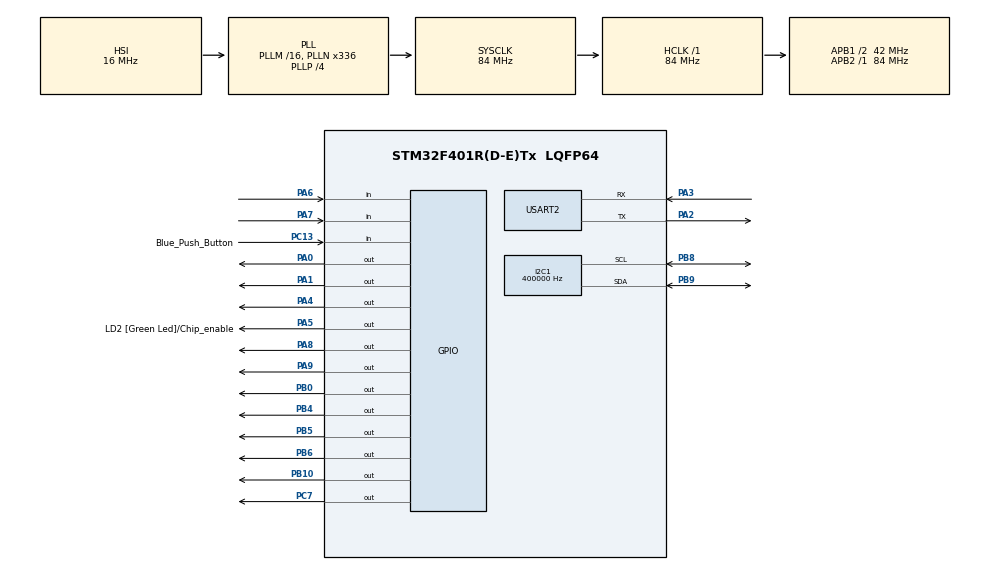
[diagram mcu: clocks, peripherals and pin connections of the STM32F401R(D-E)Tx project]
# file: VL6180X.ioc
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I2C1.ClockSpeed=400000
I2C1.I2C_Mode=I2C_Fast
Mcu.Family=STM32F4
Mcu.Name=STM32F401R(D-E)Tx
Mcu.Package=LQFP64
NVIC.PriorityGroup=NVIC_PRIORITYGROUP_0
PA0-WKUP.Signal=GPIO_Output
PA1.Signal=GPIO_Output
PA13.GPIO_Label=TMS
PA13.Mode=Serial_Wire
PA13.Signal=SYS_JTMS-SWDIO
PA14.GPIO_Label=TCK
PA14.Mode=Serial_Wire
PA14.Signal=SYS_JTCK-SWCLK
PA2.Mode=Asynchronous
PA2.Signal=USART2_TX
PA3.Mode=Asynchronous
PA3.Signal=USART2_RX
PA4.Signal=GPIO_Output
PA5.GPIO_Label=LD2 [Green Led]/Chip_enable
PA5.GPIO_Mode=GPIO_MODE_OUTPUT_PP
PA5.GPIO_ModeDefaultOutputPP=GPIO_MODE_OUTPUT_PP
PA5.GPIO_PuPd=GPIO_NOPULL
PA5.GPIO_Speed=GPIO_SPEED_FREQ_LOW
PA5.Signal=GPIO_Output
PA6.Signal=GPIO_Input
PA7.Signal=GPIO_Input
PA8.Signal=GPIO_Output
PA9.Signal=GPIO_Output
PB0.Signal=GPIO_Output
PB10.Signal=GPIO_Output
PB3.Signal=SYS_JTDO-SWO
PB4.Signal=GPIO_Output
PB5.Signal=GPIO_Output
PB6.Signal=GPIO_Output
PB8.GPIO_Pu=GPIO_PULLUP
PB8.Mode=I2C
PB8.Signal=I2C1_SCL
PB9.GPIO_Pu=GPIO_PULLUP
PB9.Mode=I2C
PB9.Signal=I2C1_SDA
PC13-ANTI_TAMP.GPIO_Label=Blue_Push_Button
PC13-ANTI_TAMP.GPIO_Mode=GPIO_MODE_INPUT
PC13-ANTI_TAMP.GPIO_PuPd=GPIO_NOPULL
PC13-ANTI_TAMP.Signal=GPIO_Input
PC14-OSC32_IN.Signal=RCC_OSC32_IN
PC15-OSC32_OUT.Signal=RCC_OSC32_OUT
PC7.Signal=GPIO_Output
PH0\ -\ OSC_IN.Signal=RCC_OSC_IN
PH1\ -\ OSC_OUT.Signal=RCC_OSC_OUT
ProjectManager.HeapSize=0x200
ProjectManager.StackSize=0x400
ProjectManager.TargetToolchain=STM32CubeIDE
RCC.48MHZClocksFreq_Value=48000000
RCC.AHBFreq_Value=84000000
RCC.APB1CLKDivider=RCC_HCLK_DIV2
RCC.APB1Freq_Value=42000000
RCC.APB1TimFreq_Value=84000000
RCC.APB2Freq_Value=84000000
RCC.APB2TimFreq_Value=84000000
RCC.CortexFreq_Value=84000000
RCC.HCLKFreq_Value=84000000
RCC.HSE_VALUE=8000000
RCC.HSI_VALUE=16000000
RCC.LSE_VALUE=32768
RCC.PLLN=336
RCC.PLLP=RCC_PLLP_DIV4
RCC.PLLQ=7
RCC.SYSCLKFreq_VALUE=84000000
RCC.SYSCLKSource=RCC_SYSCLKSOURCE_PLLCLK
RCC.VCOOutputFreq_Value=336000000
USART2.VirtualMode=VM_ASYNC
board=custom

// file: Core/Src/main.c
/* USER CODE BEGIN Header */
/**
  ******************************************************************************
  * @file           : main.c
  * @brief          : Main program body
  ******************************************************************************
  * @attention
  *
  * Copyright (c) 2023 STMicroelectronics.
  * All rights reserved.
  *
  * This software is licensed under terms that can be found in the LICENSE file
  * in the root directory of this software component.
  * If no LICENSE file comes with this software, it is provided AS-IS.
  *
  ******************************************************************************
  */
/* USER CODE END Header */
#include "main.h"

/* USER CODE BEGIN Includes */
#include <string.h>
#include <stdlib.h>
#include <stdio.h>

#include "vl6180x_api.h"
#include "x-nucleo-6180xa1.h"
/* USER CODE END Includes */

I2C_HandleTypeDef hi2c1;

UART_HandleTypeDef huart2;

void SystemClock_Config(void);
static void MX_GPIO_Init(void);
static void MX_I2C1_Init(void);
static void MX_USART2_UART_Init(void);

/* USER CODE BEGIN 0 */
#ifdef COS //DEBUG
	//TODO
#include "diag/trace.h"
    #define debug(msg, ...)   trace_printf(msg,__VA_ARGS__)
    #define trace_warn(msg,...) trace_printf("W %s %d" msg "\n", __func__, __LINE__, __VA_ARGS__)
#else
    #define debug(msg, ...)  (void)0
#endif

#define DigitDisplay_ms     1 /* ms each digit is kept on */
#if VL6180x_HAVE_DMAX_RANGING
#define DMaxDispTime     0 /* Set to 1000 to display Dmax during 1 sec when no target is detected */
#else
#define DMaxDispTime     0
#endif

#define OutORangeDispfTime  800

#define ErrRangeDispTime    0 /* Set to 800 ms to display error code when no target os detected */
#if ErrRangeDispTime == 0
/*   supress Warning[Pe186]: pointless comparison of unsigned integer with zero */
#   ifdef __ARMCC_VERSION /* ARM/KEIL */
#   pragma diag_suppress 186
#   endif  /* _ARMCC_VERSION */
#   ifdef __ICCARM__ /* IAR */
#       pragma diag_suppress=Pe186
#   endif  /* _ARMCC_VERSION */
#endif

#define ScaleDispTime       800
#define AlrmDispTime        800

#define PressBPSwicthTime   1000 /* if user keep bp press more that this mean swicth mode else rooll over use c&se in mode */

#define AlarmKeepDispTime   250  /*  alarm message retain time after it fires */

#define ALLOW_DISABLE_WAF_FROM_BLUE_BUTTON 0 /* set to 1 to add 3 extra modes to the demo where WAF is disabled (to see impact of WAF) */

void WaitMilliSec(int ms);

/**
 * VL6180x CubeMX F401 i2c porting implementation
 */

#define theVL6180xDev   0x52    // what we use as "API device

#define i2c_bus      (&hi2c1)
#define def_i2c_time_out 100

int VL6180x_I2CWrite(VL6180xDev_t addr, uint8_t  *buff, uint8_t len){
    int status;
    status = HAL_I2C_Master_Transmit(i2c_bus,  addr, buff, len , def_i2c_time_out);
    if( status ){
        XNUCLEO6180XA1_I2C1_Init(&hi2c1);
    }
    return status;
}

int VL6180x_I2CRead(VL6180xDev_t addr, uint8_t  *buff, uint8_t len){
    int status;
    status = HAL_I2C_Master_Receive(i2c_bus,  addr, buff, len , def_i2c_time_out);
    if( status ){
        XNUCLEO6180XA1_I2C1_Init(&hi2c1);
    }

    return status;
}

void XNUCLEO6180XA1_WaitMilliSec(int n){
    WaitMilliSec(n);
}

volatile int IntrFired=0;

/* VL6180x shield user interrupt handler */
void XNUCLEO6180XA1_UserIntHandler(void){
    IntrFired ++;
}

/**
 * DISPLAY public
 */
/***************  DISPLAY PUBLIC *********************/
const char *DISP_NextString;
/***************  DISPLAY PRIVATE *********************/
static char DISP_CurString[10];
static int DISP_Loop=0;

void DISP_ExecLoopBody(void){
    if (DISP_NextString != NULL) {
        strncpy(DISP_CurString, DISP_NextString, sizeof(DISP_CurString) - 1);
        DISP_CurString[sizeof(DISP_CurString) - 1] = 0;
        DISP_NextString = NULL;
    }
    XNUCLEO6180XA1_DisplayString(DISP_CurString, DigitDisplay_ms);
    DISP_Loop++;
}

void DISP_Task(const void *arg) {
    do {
        DISP_ExecLoopBody();
    } while (1);
}

#if !FREE_RTOS

volatile uint32_t g_TickCnt;
char buff[10]="---.--";
float v=0000.1;
void HAL_SYSTICK_Callback(void){
    g_TickCnt++;
}

void WaitMilliSec(int ms){
    uint32_t start, now;
    int dif;
    start=g_TickCnt;
    //debug("waiting %d @%d\n",ms, g_TickCnt);
    do{
        now=g_TickCnt;
        dif= now -start;
    }
    while(dif<ms);
    //debug("waited  %d @%d\n",dif, g_TickCnt);
}

#else
//for FreeRtos ue os wait
void WaitMilliSec(int ms)   vTaskDelay( ms/ portTICK_PERIOD_MS)

#endif

void HAL_GPIO_EXTI_Callback(uint16_t GPIO_Pin){
    XNUCLEO6180XA1_EXTI_CallBackHandle(GPIO_Pin);
}

#define BSP_BP_PORT GPIOC
#define BSP_BP_PIN  GPIO_PIN_13
int BSP_GetPushButton(void){
    GPIO_PinState state ;
    state = HAL_GPIO_ReadPin(BSP_BP_PORT, BSP_BP_PIN);
    return state;
}

void SetDisplayString(const char *msg) {
    DISP_NextString=msg;
}
/**
 * call in the main loop
 * when running under debugger it enable doing direct vl6180x reg access
 * typcilay breaking at entrance
 * change  the the local index/data and cmd variable to do what needed
 * reg_cmd -1 wr byte -2wr word -3 wr dword
 * reg_cmd 1 rd byte 2 rd word 3 rd dword
 * step to last statement before return and read variable to get rd result exit
 */
void debug_stuff(void) {
    int reg_cmd = 0;
    static uint32_t reg_data;
    static uint16_t reg_index;

    if (reg_cmd) {
        switch (reg_cmd) {
        case -1:
            VL6180x_WrByte(theVL6180xDev, reg_index, reg_data);
            debug("Wr B 0x%X = %d", reg_index, (int)reg_data);
            break;
        case -2:
            VL6180x_WrWord(theVL6180xDev, reg_index, reg_data);
            debug("Wr W 0x%X = %d", reg_index,(int) reg_data);
            break;

        case -3:
            VL6180x_WrDWord(theVL6180xDev, reg_index, reg_data);
            debug("WrDW 0x%X = %d", reg_index, (int)reg_data);
            break;

        case 1:
            reg_data=0;
            VL6180x_RdByte(theVL6180xDev, reg_index, (uint8_t*)&reg_data);
            debug("RD B 0x%X = %d", reg_index, (int)reg_data);
            break;
        case 2:
            reg_data=0;
            VL6180x_RdWord(theVL6180xDev, reg_index, (uint16_t*)&reg_data);
            debug("RD W 0x%X = %d", reg_index, (int)reg_data);
            break;

        case 3:
            VL6180x_RdDWord(theVL6180xDev, reg_index, &reg_data);
            debug("RD DW 0x%X = %d", reg_index, (int)reg_data);
            break;
        default:
            debug("Invalid command %d", reg_cmd);
            /* nothing to do*/
            ;
        }
    }
}

volatile int VL6180x_IsrFired=0;

/**
*/

int nErr=0;
void OnErrLog(void){
    /* just log */
    nErr++;
}

enum runmode_t{
    RunRangePoll=0,
    RunAlsPoll,
    InitErr,
    ScaleSwap,
    WaitForReset,
    AlrmStart,
    AlrmRun,
    FromSwitch,
};

char buffer[10];

struct state_t {
    int OutofRAnge:1;
    int AutoScale:1;
    int FilterEn:1;
    uint8_t mode;
    int8_t ScaleSwapCnt;
    uint8_t InitScale;

    uint8_t CurAlrm;
    uint8_t AlrmFired; /* just used to keep display at least min time */
}State;

uint32_t TimeStarted;       /* various display and mode delay starting time */
VL6180x_AlsData_t   Als;    /* ALS measurement */
VL6180x_RangeData_t Range;  /* Range measurmeent  */

int alpha =(int)(0.85*(1<<16));    /* range distance running average cofs */
uint16_t range;             /* range average distance */

#define AutoThreshHigh  80  /*auto scale high thresh => AutoThreshHigh *  max_raneg => scale ++  */
#define AutoThreshLow   33  /*auto scale low thresh  => AutoThreshHigh *  max_raneg => scale ++  */

void AbortErr( const char * msg ){
    SetDisplayString( msg);
    State.mode=  WaitForReset;
}

/**
 * ALS mode idle run loops
 */
void AlsState(void)
{
    int status;
    status = VL6180x_AlsPollMeasurement(theVL6180xDev, &Als);
    if (status) {
        SetDisplayString("Er 4");
    } else {
        if (Als.lux > 9999) {
            sprintf(buffer, "L----" );
        }
        else if (Als.lux > 999) {
            sprintf(buffer, "L%d.%02d", (int) Als.lux / 1000, (int) (Als.lux % 1000) / 10); /* show LX.YY  X k Lux 2 digit*/
        } else {
            sprintf(buffer, "l%3d", (int) Als.lux);
        }
        SetDisplayString( buffer );
    }
}

void InitAlsMode(void){
    //anything after prepare and prior to go into AlsState
    int time = 100;
    VL6180x_AlsSetIntegrationPeriod(theVL6180xDev, time);
}

/**
 * Manage UI and state for scale change
 *
 * @param scaling the next scaling factor
 */
void DoScalingSwap(int scaling){
    if( State.AutoScale){
        if( State.FilterEn )
            SetDisplayString("Sf A");
        else
            SetDisplayString("Sc A");
    }
    else{
        if( State.FilterEn )
            sprintf(buffer, "Sf %d", (int)scaling);
        else
            sprintf(buffer, "Sc %d", (int)scaling);
        SetDisplayString(buffer);

    }
    State.mode = ScaleSwap;
    TimeStarted=g_TickCnt;
}

/**
 * When button is already pressed it Wait for user to release it
 * if button remain pressed for given time it return true
 * These is used to detect mode switch by long press on blue Push Button
 *
 * As soon as time is elapsed -rb- is displayed  to let user know order
 * the  request to switch mode is taken into account
 *
 * @return True if button remain pressed more than specified time
 */
int PusbButton_WaitUnPress(void){
    TimeStarted = g_TickCnt;
    while( !BSP_GetPushButton() ){ ; /* debounce */
        DISP_ExecLoopBody();
        if( g_TickCnt - TimeStarted> PressBPSwicthTime){
            SetDisplayString (" rb ");
        }
    }
    return  g_TickCnt - TimeStarted>PressBPSwicthTime;

}

void AlarmShowMode(const char *msg)
{
    SetDisplayString( msg);
    TimeStarted=g_TickCnt;
    do {
        DISP_ExecLoopBody();
    } while (g_TickCnt - TimeStarted < AlrmDispTime);
}

void AlarmLowThreshUseCase(void){
    AlarmShowMode("A-Lo");

    /* make sure from now on all register in group are not fetched by device */
    VL6180x_SetGroupParamHold(theVL6180xDev, 1);

    /* get interrupt whenever we go below 200mm */
    VL6180x_RangeSetThresholds(theVL6180xDev, 200, 0, 0 );
    /* set range interrupt reporting low threshold*/
    VL6180x_RangeConfigInterrupt(theVL6180xDev, CONFIG_GPIO_INTERRUPT_LEVEL_LOW);

    /* leave device peak up all new register in group */
    VL6180x_SetGroupParamHold(theVL6180xDev, 0);

    /* clear any interrupt that should ensure a new edge get generated even if we missed it */
    VL6180x_RangeClearInterrupt(theVL6180xDev);
}

void AlarmHighThreshUseCase(void){
    AlarmShowMode("A-hi");
    /* make sure from now on all register in group are not fetched by device */
    VL6180x_SetGroupParamHold(theVL6180xDev, 1);

    /* get interrupt whenever  higher than 200mm (low threshold don't care) */
    VL6180x_RangeSetThresholds(theVL6180xDev, 0, 200, 0 );

    /* set range interrupt reporting high threshold*/
    VL6180x_RangeConfigInterrupt(theVL6180xDev, CONFIG_GPIO_INTERRUPT_LEVEL_HIGH);

    /* leave device peak up all new register in group */
    VL6180x_SetGroupParamHold(theVL6180xDev, 0);

    /* clear any interrupt that should ensure a new edge get generated even if we missed it */
    VL6180x_RangeClearInterrupt(theVL6180xDev);

}

void AlarmWindowThreshUseCase(void){

    AlarmShowMode("A-0o");

    /* make sure from now on all register in group are not fetched by device */
    VL6180x_SetGroupParamHold(theVL6180xDev, 1);

    /* get interrupt whenever  out of  100mm  250mm  range */
    VL6180x_RangeSetThresholds(theVL6180xDev, 100, 200, 0 );

    /* set range interrupt reporting out of window  */
    VL6180x_RangeConfigInterrupt(theVL6180xDev, CONFIG_GPIO_INTERRUPT_OUT_OF_WINDOW);

    /* leave device peak up all new register in group */
    VL6180x_SetGroupParamHold(theVL6180xDev, 0);

    /* clear any interrupt that should ensure a new edge get generated even if we missed it */
    VL6180x_RangeClearInterrupt(theVL6180xDev);

}

void AlarmUpdateUseCase(void)
{
    State.CurAlrm =(State.CurAlrm%3);

    switch ( State.CurAlrm) {
    case 0: /* low thresh */
        AlarmLowThreshUseCase();
        break;
    case 1: /* high thresh */
        AlarmHighThreshUseCase();;
        break;
    case 2: /* out of window */
        AlarmWindowThreshUseCase();
    }
    VL6180x_RangeClearInterrupt(theVL6180xDev); /* clear any active interrupt it will ensure we get a new active edge is raised */
}

void AlarmStop(void){
    VL6180x_RangeSetSystemMode(theVL6180xDev, MODE_CONTINUOUS|MODE_START_STOP);
    /* Wait some time for last potential measure to stop ?
     * TODO can we poll check something to avoid that delay? */
    WaitMilliSec(100);
    /* Clear any left pending interrupt
     * these is not mandatory or a left uncleared status can mess-up next intr mode change and status check  without a prior intr clear */
    VL6180x_ClearAllInterrupt(theVL6180xDev);

    /* Anover way to stop is to switch and trigger a single shot measure (in a safe way)
     * set interrupt report mode new sample ready
     * clear interrupt
     * kick of a measure
     * poll for measure ready
     * all that can take up to arround 2x max convergence time typically set to 50ms  */

    /* TODO we can also disable the output pin to save some current */

    /* disable  interrupt handling at CPU level */
    XNUCLEO6180XA1_DisableInterrupt();

}

/**
 * Initiate alarm (interrupt mode on distance threshold)
 */
void AlarmInit(void){
    State.mode = AlrmRun;
    TimeStarted=g_TickCnt;
    uint16_t InterMeasPeriod=50; /* 10 ms is the minimal */
    /* We assume device is stopped  */

    VL6180x_Prepare(theVL6180xDev);
    /* Increase convergence time to the max (this is because proximity config of API is used) */
    VL6180x_RangeSetMaxConvergenceTime(theVL6180xDev, 63);
    /* set max upscale so we can work up to some  50cm */
    VL6180x_UpscaleSetScaling(theVL6180xDev, 3);

    /* set inter measurement period (that is in fact inter measure time)
     * note that when low refresh rate  is need time like 100ms is best to keep power low  */
    VL6180x_RangeSetInterMeasPeriod(theVL6180xDev, InterMeasPeriod);
    /* if fast reaction is required then set a time of 0 (will set minimal possible) */
    /* VL6180x_RangeSetInterMeasPeriod(theVL6180xDev, 0); */

    /* setup gpio1 pin to range interrupt output with high polarity (rising edge) */
    VL6180x_SetupGPIO1(theVL6180xDev, GPIOx_SELECT_GPIO_INTERRUPT_OUTPUT, INTR_POL_HIGH);
    /* set threshold for current used case and update the display */
    AlarmUpdateUseCase();
    /* enable interrupt at CPU level */
    XNUCLEO6180XA1_EnableInterrupt();
    /*Clear any pending device interrupt even if already active it should force a new edge so we can pick up*/
    VL6180x_ClearAllInterrupt(theVL6180xDev);

    /* start continuous mode */
    VL6180x_RangeSetSystemMode(theVL6180xDev, MODE_START_STOP|MODE_CONTINUOUS);
    /* from now vl6180x is running on it's own and will interrupt us when condition is met
     * the interrupt set a flag peek-up in AlarmState run loop*/
}

/**
 * Alarm mode idle run
 *
 * We only here look at the volatile interrupt flags set that from isr
 * the isr manage to clear interrupt at cpu level
 * we Here clear and re-arm/clear interrupt at the the device level and do the UI and display
 */
void AlarmState(void){
    IntrStatus_t IntStatus;
    int status;

    if (IntrFired != 0) {
    /* Interrupt did fired Get interrupt  causes */
        status = VL6180x_RangeGetInterruptStatus(theVL6180xDev, &IntStatus.val);
        if (status) {
            AbortErr("Al 1");
            goto done;
        }
        switch( IntStatus.status.Range ) {
        case RES_INT_STAT_GPIO_LOW_LEVEL_THRESHOLD :
            SetDisplayString("L---");
            break;
        case RES_INT_STAT_GPIO_HIGH_LEVEL_THRESHOLD :
            SetDisplayString("H---");
            break;
        case RES_INT_STAT_GPIO_OUT_OF_WINDOW :
            SetDisplayString("O---");
            break;
        case RES_INT_STAT_GPIO_NEW_SAMPLE_READY:
            SetDisplayString("n---");
            break;
        }
        VL6180x_RangeClearInterrupt(theVL6180xDev); /* clear it */
        IntrFired = 0;
        TimeStarted=g_TickCnt;
        State.AlrmFired = 1;
    }
    else{
        int flush=0;
        //sanity check we are not in a state where i/o is active without an edge
        if( g_TickCnt-TimeStarted> 5000 ){
            if( flush )
                VL6180x_RangeClearInterrupt(theVL6180xDev); /* clear it */
            TimeStarted=g_TickCnt;
        }
    }
    if( State.AlrmFired ){
        /* After an interrupt fire keep the display message for some minimal time
         * over wise it could not be visible at all */
        if( g_TickCnt-TimeStarted > AlarmKeepDispTime )
            State.AlrmFired = 0;
    }
    else{
        /* show what alarm mode we are one */
        switch( State.CurAlrm ){
            case 0 :
                SetDisplayString("L"); /* low */
                break;
            case 1 :
                SetDisplayString("H"); /* high */
                break;
            case 2:
                SetDisplayString("O"); /* window */
                break;
        }
    }
    /* keep On refreshing display at every idle loop */
    DISP_ExecLoopBody();

    if( !BSP_GetPushButton() ){
        /* when button get presses wait it get release (keep doing display) */
        status = PusbButton_WaitUnPress();
        if( status ){
            /* BP stay pressed very long time switch back to range/als  */
            AlarmStop();
            State.mode=FromSwitch;
        }
        else{
            /* BP short pressed switch use case  */
            State.CurAlrm=(State.CurAlrm+1)%3;
            AlarmUpdateUseCase();
        }
    }

done:
    ;
}

void GoToAlaramState(void) {
    AlarmInit();
}

/**
 * Ranging mode idle loop
 */
void RangeState(void) {
    int status;
    uint16_t hlimit;
    uint8_t scaling;

    scaling = VL6180x_UpscaleGetScaling(theVL6180xDev);
    status = VL6180x_RangePollMeasurement(theVL6180xDev, &Range); /* these invoke dipslay for  polling */
    if (status) {
        AbortErr("Er r");
        return;
    }

    hlimit = VL6180x_GetUpperLimit(theVL6180xDev);
    if (Range.range_mm >= (hlimit * AutoThreshHigh) / 100 && scaling < 3 && State.AutoScale) {
        VL6180x_UpscaleSetScaling(theVL6180xDev, scaling + 1);
    }
    if (Range.range_mm < (hlimit * AutoThreshLow) / 100 && scaling > 1 && State.AutoScale) {
        VL6180x_UpscaleSetScaling(theVL6180xDev, scaling - 1);
    }

    if (Range.errorStatus) {
        /* no valid ranging*/
        if (State.OutofRAnge) {
#if VL6180x_HAVE_DMAX_RANGING
            if (g_TickCnt - TimeStarted >= ErrRangeDispTime &&  g_TickCnt - TimeStarted <  ErrRangeDispTime + DMaxDispTime ){
                    sprintf(buffer, "d%3d", (int)Range.DMax);
                    SetDisplayString(buffer);
            }
            else

#endif
            if(g_TickCnt - TimeStarted < ErrRangeDispTime  )
            {

                sprintf(buffer, "rE%2d", (int) Range.errorStatus);
                SetDisplayString(buffer);
            }
            else{
                State.OutofRAnge=0; /* back to out of range display */
                TimeStarted=g_TickCnt;
            }
        }
        else {
            int FilterEn;
#if VL6180x_WRAP_AROUND_FILTER_SUPPORT
            FilterEn = VL6180x_FilterGetState(theVL6180xDev);
            if (FilterEn && VL6180x_RangeIsFilteredMeasurement(&Range) ){
                SetDisplayString("F---");
            }
            else
                SetDisplayString("r---");
#else
            SetDisplayString("r---");
#endif
            if( g_TickCnt - TimeStarted > OutORangeDispfTime ) {
                State.OutofRAnge = 1;
                TimeStarted = g_TickCnt;
            }
        }
    }
    else {
        State.OutofRAnge = 0;
        TimeStarted = g_TickCnt;
        range = (range * alpha + Range.range_mm * ((1 << 16) - alpha)) >> 16;
        sprintf(buffer, "r%3d", (int) range);
        if (State.AutoScale) {
            if (scaling == 1) {
                buffer[0] = '_';
            }
            else
                if (scaling == 2)
                    buffer[0] = '=';
                else
                    buffer[0] = '~';
        }

        SetDisplayString(buffer);
    }

#define max_scale 3
    if (!BSP_GetPushButton()) {
        TimeStarted = g_TickCnt;
        status = PusbButton_WaitUnPress();
        if (status) {
            GoToAlaramState();
            return;
        }
        State.ScaleSwapCnt++;
        if (State.ScaleSwapCnt % (max_scale + 1) == max_scale) {
            State.AutoScale = 1;
            scaling = max_scale;
        }
        else {
#if ALLOW_DISABLE_WAF_FROM_BLUE_BUTTON
            /* togle filtering every time we roll over all scaling(pass by autoscale) */
            if (State.AutoScale)
                State.FilterEn = !State.FilterEn;
#endif
            State.AutoScale = 0;
            scaling = State.InitScale + (State.ScaleSwapCnt % max_scale);
            if (scaling > max_scale)
                scaling = scaling - (max_scale);
        }

        status = VL6180x_UpscaleSetScaling(theVL6180xDev, scaling);
        if (status<0) {
            AbortErr("ErUp");
            State.mode = InitErr;
        }
        else {
            /* do not check status may fail when filter support not active */
            VL6180x_FilterSetState(theVL6180xDev, State.FilterEn);
            DoScalingSwap(scaling);
        }
    }
}

/**
 * Idle mode Error (do nothing)
 */
void ErState(void){

}

/* USER CODE END 0 */

int main(void)
{
  /* USER CODE BEGIN 1 */
    int status;
    int new_switch_state;
    int switch_state = -1;
    State.mode = 1;
  /* USER CODE END 1 */

  /* MCU Configuration--------------------------------------------------------*/

  /* Reset of all peripherals, Initializes the Flash interface and the Systick. */
  HAL_Init();

  /* Configure the system clock */
  SystemClock_Config();

  /* USER CODE BEGIN SysInit */
  /* Sets the priority grouping field */
  HAL_NVIC_SetPriorityGrouping(NVIC_PRIORITYGROUP_0);
  HAL_NVIC_SetPriority(SysTick_IRQn, 0, 0);
  /* USER CODE END SysInit */

  /* Initialize all configured peripherals */
  MX_GPIO_Init();
  MX_I2C1_Init();
  MX_USART2_UART_Init();
  /* USER CODE BEGIN 2 */

  /* these almost just redo what already done just above by CubeMx Init
  * but it get tested and can be re place cube-mx init code :) */
  XNUCLEO6180XA1_GPIO_Init();
  XNUCLEO6180XA1_I2C1_Init(&hi2c1);

  /* SysTick end of count event each 1ms */
  SysTick_Config(HAL_RCC_GetHCLKFreq() / 1000);

  /* reset_test(); */
	XNUCLEO6180XA1_Reset(0);
	WaitMilliSec(10);
	XNUCLEO6180XA1_Reset(1);
	WaitMilliSec(1);
	/* Note that as we waited  1msec we could bypass VL6180x_WaitDeviceBooted(theVL6180xDev); */
	VL6180x_WaitDeviceBooted(theVL6180xDev);
	VL6180x_InitData(theVL6180xDev);

	State.InitScale=VL6180x_UpscaleGetScaling(theVL6180xDev);
	State.FilterEn=VL6180x_FilterGetState(theVL6180xDev);

	/* Enable Dmax calculation only if value is displayed (to save computation power) */
	VL6180x_DMaxSetState(theVL6180xDev, DMaxDispTime>0);

	switch_state=-1 ; /* force what read from switch to set new working mode */
	State.mode = AlrmStart;

  /* USER CODE END 2 */

  /* Infinite loop */
  while (1)
  {

    /* USER CODE BEGIN 3 */
	  new_switch_state = XNUCLEO6180XA1_GetSwitch();
	  if (new_switch_state != switch_state)
	  {
		  switch_state=new_switch_state;
		  status = VL6180x_Prepare(theVL6180xDev);
		  /* Increase convergence time to the max (this is because proximity config of API is used) */
		  VL6180x_RangeSetMaxConvergenceTime(theVL6180xDev, 63);
		  if (status) {
			  AbortErr("ErIn");
		  }
		  else{
			  if (switch_state == SWITCH_VAL_RANGING) {
				  VL6180x_SetupGPIO1(theVL6180xDev, GPIOx_SELECT_GPIO_INTERRUPT_OUTPUT, INTR_POL_HIGH);
				  VL6180x_ClearAllInterrupt(theVL6180xDev);
				  State.ScaleSwapCnt=0;
				  DoScalingSwap( State.InitScale);
			  } else {
				   State.mode = RunAlsPoll;
				   InitAlsMode();
			  }
		  }
	  }

	  switch (State.mode) {
	  case RunRangePoll:
		  RangeState();
		  break;

	  case RunAlsPoll:
		  AlsState();
		  break;

	  case InitErr:
		  TimeStarted = g_TickCnt;
		  State.mode = WaitForReset;
		  break;

	  case AlrmStart:
		 GoToAlaramState();
		 break;

	  case AlrmRun:
		  AlarmState();
		  break;

	  case FromSwitch:
		  /* force reading swicth as re-init selected mode  */
		  switch_state=!XNUCLEO6180XA1_GetSwitch();
		  break;

	  case ScaleSwap:

		  if (g_TickCnt - TimeStarted >= ScaleDispTime) {
			  State.mode = RunRangePoll;
			  TimeStarted=g_TickCnt; /* reset as used for --- to er display */
		  }
		  else
			  DISP_ExecLoopBody();
		  break;

	  default:
  #if !FREE_RTOS
			  DISP_ExecLoopBody();
  #endif
			  if (g_TickCnt - TimeStarted >= 5000) {
				  NVIC_SystemReset();
			  }
		  }

		  //debug_stuff();
  }
  /* USER CODE END 3 */
}

void SystemClock_Config(void)
{
  RCC_OscInitTypeDef RCC_OscInitStruct = {0};
  RCC_ClkInitTypeDef RCC_ClkInitStruct = {0};

  /** Configure the main internal regulator output voltage
  */
  __HAL_RCC_PWR_CLK_ENABLE();
  __HAL_PWR_VOLTAGESCALING_CONFIG(PWR_REGULATOR_VOLTAGE_SCALE2);

  /** Initializes the RCC Oscillators according to the specified parameters
  * in the RCC_OscInitTypeDef structure.
  */
  RCC_OscInitStruct.OscillatorType = RCC_OSCILLATORTYPE_HSI;
  RCC_OscInitStruct.HSIState = RCC_HSI_ON;
  RCC_OscInitStruct.HSICalibrationValue = RCC_HSICALIBRATION_DEFAULT;
  RCC_OscInitStruct.PLL.PLLState = RCC_PLL_ON;
  RCC_OscInitStruct.PLL.PLLSource = RCC_PLLSOURCE_HSI;
  RCC_OscInitStruct.PLL.PLLM = 16;
  RCC_OscInitStruct.PLL.PLLN = 336;
  RCC_OscInitStruct.PLL.PLLP = RCC_PLLP_DIV4;
  RCC_OscInitStruct.PLL.PLLQ = 7;
  if (HAL_RCC_OscConfig(&RCC_OscInitStruct) != HAL_OK)
  {
    Error_Handler();
  }

  /** Initializes the CPU, AHB and APB buses clocks
  */
  RCC_ClkInitStruct.ClockType = RCC_CLOCKTYPE_HCLK|RCC_CLOCKTYPE_SYSCLK
                              |RCC_CLOCKTYPE_PCLK1|RCC_CLOCKTYPE_PCLK2;
  RCC_ClkInitStruct.SYSCLKSource = RCC_SYSCLKSOURCE_PLLCLK;
  RCC_ClkInitStruct.AHBCLKDivider = RCC_SYSCLK_DIV1;
  RCC_ClkInitStruct.APB1CLKDivider = RCC_HCLK_DIV2;
  RCC_ClkInitStruct.APB2CLKDivider = RCC_HCLK_DIV1;

  if (HAL_RCC_ClockConfig(&RCC_ClkInitStruct, FLASH_LATENCY_2) != HAL_OK)
  {
    Error_Handler();
  }
}

static void MX_I2C1_Init(void)
{

  hi2c1.Instance = I2C1;
  hi2c1.Init.ClockSpeed = 400000;
  hi2c1.Init.DutyCycle = I2C_DUTYCYCLE_2;
  hi2c1.Init.OwnAddress1 = 0;
  hi2c1.Init.AddressingMode = I2C_ADDRESSINGMODE_7BIT;
  hi2c1.Init.DualAddressMode = I2C_DUALADDRESS_DISABLE;
  hi2c1.Init.OwnAddress2 = 0;
  hi2c1.Init.GeneralCallMode = I2C_GENERALCALL_DISABLE;
  hi2c1.Init.NoStretchMode = I2C_NOSTRETCH_DISABLE;
  if (HAL_I2C_Init(&hi2c1) != HAL_OK)
  {
    Error_Handler();
  }

}

static void MX_USART2_UART_Init(void)
{

  huart2.Instance = USART2;
  huart2.Init.BaudRate = 115200;
  huart2.Init.WordLength = UART_WORDLENGTH_8B;
  huart2.Init.StopBits = UART_STOPBITS_1;
  huart2.Init.Parity = UART_PARITY_NONE;
  huart2.Init.Mode = UART_MODE_TX_RX;
  huart2.Init.HwFlowCtl = UART_HWCONTROL_NONE;
  huart2.Init.OverSampling = UART_OVERSAMPLING_16;
  if (HAL_UART_Init(&huart2) != HAL_OK)
  {
    Error_Handler();
  }

}

static void MX_GPIO_Init(void)
{
  GPIO_InitTypeDef GPIO_InitStruct = {0};

  /* GPIO Ports Clock Enable */
  __HAL_RCC_GPIOC_CLK_ENABLE();
  __HAL_RCC_GPIOH_CLK_ENABLE();
  __HAL_RCC_GPIOA_CLK_ENABLE();
  __HAL_RCC_GPIOB_CLK_ENABLE();

  /*Configure GPIO pin Output Level */
  HAL_GPIO_WritePin(GPIOA, GPIO_PIN_0|GPIO_PIN_1|GPIO_PIN_4|LD2__Chip_enable_Pin
                          |GPIO_PIN_8|GPIO_PIN_9, GPIO_PIN_RESET);

  /*Configure GPIO pin Output Level */
  HAL_GPIO_WritePin(GPIOB, GPIO_PIN_0|GPIO_PIN_10|GPIO_PIN_4|GPIO_PIN_5
                          |GPIO_PIN_6, GPIO_PIN_RESET);

  /*Configure GPIO pin Output Level */
  HAL_GPIO_WritePin(GPIOC, GPIO_PIN_7, GPIO_PIN_RESET);

  /*Configure GPIO pin : Blue_Push_Button_Pin */
  GPIO_InitStruct.Pin = Blue_Push_Button_Pin;
  GPIO_InitStruct.Mode = GPIO_MODE_INPUT;
  GPIO_InitStruct.Pull = GPIO_NOPULL;
  HAL_GPIO_Init(Blue_Push_Button_GPIO_Port, &GPIO_InitStruct);

  /*Configure GPIO pins : PA0 PA1 PA4 LD2__Chip_enable_Pin
                           PA8 PA9 */
  GPIO_InitStruct.Pin = GPIO_PIN_0|GPIO_PIN_1|GPIO_PIN_4|LD2__Chip_enable_Pin
                          |GPIO_PIN_8|GPIO_PIN_9;
  GPIO_InitStruct.Mode = GPIO_MODE_OUTPUT_PP;
  GPIO_InitStruct.Pull = GPIO_NOPULL;
  GPIO_InitStruct.Speed = GPIO_SPEED_FREQ_LOW;
  HAL_GPIO_Init(GPIOA, &GPIO_InitStruct);

  /*Configure GPIO pins : PA6 PA7 */
  GPIO_InitStruct.Pin = GPIO_PIN_6|GPIO_PIN_7;
  GPIO_InitStruct.Mode = GPIO_MODE_INPUT;
  GPIO_InitStruct.Pull = GPIO_NOPULL;
  HAL_GPIO_Init(GPIOA, &GPIO_InitStruct);

  /*Configure GPIO pins : PB0 PB10 PB4 PB5
                           PB6 */
  GPIO_InitStruct.Pin = GPIO_PIN_0|GPIO_PIN_10|GPIO_PIN_4|GPIO_PIN_5
                          |GPIO_PIN_6;
  GPIO_InitStruct.Mode = GPIO_MODE_OUTPUT_PP;
  GPIO_InitStruct.Pull = GPIO_NOPULL;
  GPIO_InitStruct.Speed = GPIO_SPEED_FREQ_LOW;
  HAL_GPIO_Init(GPIOB, &GPIO_InitStruct);

  /*Configure GPIO pin : PC7 */
  GPIO_InitStruct.Pin = GPIO_PIN_7;
  GPIO_InitStruct.Mode = GPIO_MODE_OUTPUT_PP;
  GPIO_InitStruct.Pull = GPIO_NOPULL;
  GPIO_InitStruct.Speed = GPIO_SPEED_FREQ_LOW;
  HAL_GPIO_Init(GPIOC, &GPIO_InitStruct);

}

void Error_Handler(void)
{
  __disable_irq();
  while (1)
  {
  }
}
